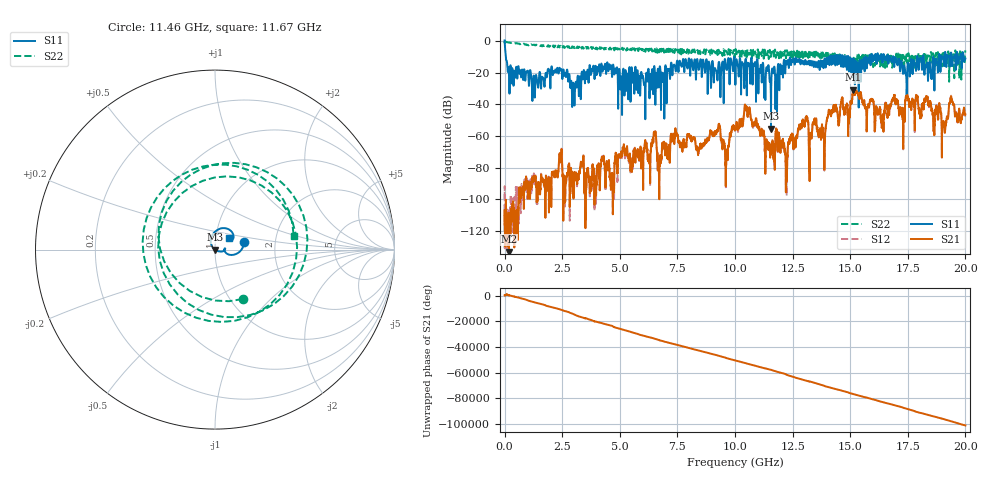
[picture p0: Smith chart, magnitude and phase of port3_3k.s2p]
! MS46122B
! 2250307/22442219
! 8/1/2025 10:31:17 AM
! C:\USERS\SPARKY\DOCUMENTS\VNA_DATA\AUGUST1_2025\3K\PORT3.S2P
! CHANNEL.1
! TR.MEASUREMENT
! RAW.DATA
# GHZ S RI R 50.0
! FREQ.GHZ  S11RE  S11IM  S21RE  S21IM  S12RE  S12IM  S22RE  S22IM
!; PortSelection: Port_12
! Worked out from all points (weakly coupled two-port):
!   10001 points, 1 MHz to 20 GHz, reference 50 ohm
!   highest |S21| = -30.74 dB at 15.13 GHz (marker M1); lowest = -133.0 dB at 189 MHz (marker M2)
!   lowest |S11| = -55.4 dB at 11.56 GHz (marker M3), VSWR 1.00, Z = 50.1 - j0.129 ohm
!   |S11| at or under -10 dB: 52.77 MHz to 9.965 GHz (9.913 GHz wide, 198 % of centre); 9.971 GHz to 14.13 GHz (4.159 GHz wide, 34.5 % of centre); 16.87 GHz to 17.9 GHz (1.026 GHz wide, 5.9 % of centre) (the widest 3 of 36)
!   |S22| runs from -25.7 to 0.1 dB; largest |S21 - S12| = 0.0034
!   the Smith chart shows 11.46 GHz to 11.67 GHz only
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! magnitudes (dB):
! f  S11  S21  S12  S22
! 1 MHz  0.4  -107.0  -99.7  -0.1
! 189 MHz  -18.5  -133.0  -106.9  -1.0
! 3.335 GHz  -21.4  -78.4  -77.8  -4.3
! 6.267 GHz  -20.7  -73.7  -73.9  -5.8
! 6.491 GHz  -15.9  -58.0  -57.8  -6.2
! 6.669 GHz  -18.4  -76.6  -77.0  -4.7
! 7.375 GHz  -15.2  -62.8  -62.3  -7.2
! 8.391 GHz  -14.0  -71.3  -71.1  -6.6
! 9.267 GHz  -17.3  -54.6  -54.6  -6.3
! 9.643 GHz  -18.2  -69.2  -68.7  -6.6
! 10 GHz  -15.4  -55.7  -56.3  -7.2
! 10.53 GHz  -18.1  -44.3  -44.8  -6.7
! 11.56 GHz  -55.4  -69.8  -70.3  -8.8
! 12.2 GHz  -14.4  -75.7  -76.6  -8.6
! 13.33 GHz  -15.4  -59.4  -59.7  -9.0
! 13.82 GHz  -14.1  -58.9  -59.1  -8.0
! 15.13 GHz  -14.3  -30.7  -30.9  -12.7
! 16.67 GHz  -12.7  -42.5  -42.8  -13.0
! 18.31 GHz  -14.4  -35.5  -35.7  -12.0
! 19.06 GHz  -15.7  -53.5  -53.3  -10.4
! 19.38 GHz  -7.3  -35.2  -34.6  -15.7
! 20 GHz  -11.0  -46.4  -47.0  -5.8
